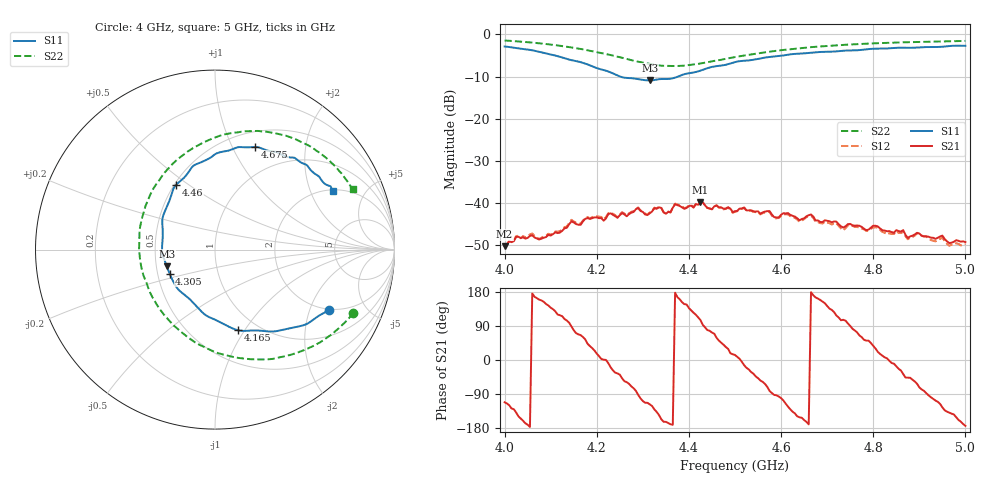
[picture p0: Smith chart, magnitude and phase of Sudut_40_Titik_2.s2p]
# Hz S RI R 50
! CMT, C1220, 16058040, 17.2.0/1
! Date: 15/08/2018 11:40:03
! Data: Format (Calibration Info)
! Freq  S11: Re/Im (F2)  S21: Re/Im (F2)  S12: Re/Im (F2)  S22: Re/Im (F2)
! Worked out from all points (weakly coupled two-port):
!   201 points, 4 GHz to 5 GHz, reference 50 ohm
!   highest |S21| = -39.82 dB at 4.425 GHz (marker M1); lowest = -50.3 dB at 4 GHz (marker M2)
!   lowest |S11| = -10.9 dB at 4.315 GHz (marker M3), VSWR 1.79, Z = 28.4 - j5.82 ohm
!   |S11| at or under -10 dB: 4.25 GHz to 4.377 GHz (126.1 MHz wide, 2.92 % of centre)
!   |S22| runs from -7.5 to -1.4 dB; largest |S21 - S12| = 0.00039
!   S11 on the Smith chart (normalised r, x): 4 GHz: 1.98, -2.74; 4.165 GHz: 0.81, -0.94; 4.305 GHz: 0.58, -0.17; 4.46 GHz: 0.51, +0.45; 4.675 GHz: 0.67, +1.23; 5 GHz: 2.05, +2.90
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4e9  0.6367 -0.335  -0.00112 -0.00284  -0.00106 -0.00299  0.7704 -0.3538
4.025e9  0.5828 -0.366  -0.00294 -0.0026  -0.00287 -0.0028  0.7222 -0.4074
4.1e9  0.3606 -0.451  -0.00304 0.00272  -0.00315 0.00274  0.5229 -0.5484
4.145e9  0.2041 -0.4505  0.000156 0.006  4.66e-05 0.00628  0.3599 -0.6002
4.165e9  0.1297 -0.45  0.00225 0.00499  0.00229 0.00516  0.28 -0.6117
4.17e9  0.1136 -0.445  0.00294 0.00524  0.00295 0.0054  0.2593 -0.612
4.265e9  -0.1719 -0.2508  0.00362 -0.00589  0.00367 -0.0061  -0.1514 -0.488
4.29e9  -0.2299 -0.1833  -0.000339 -0.00863  -0.000344 -0.00878  -0.2466 -0.4047
4.305e9  -0.2528 -0.1332  -0.00282 -0.00669  -0.0029 -0.00684  -0.2944 -0.3496
4.315e9  -0.2679 -0.094  -0.00341 -0.0067  -0.0035 -0.00681  -0.3239 -0.3073
4.335e9  -0.2925 -0.0282  -0.00728 -0.00505  -0.00743 -0.00494  -0.3712 -0.2154
4.35e9  -0.2947 0.0207  -0.00708 -0.00215  -0.00713 -0.00218  -0.3987 -0.1438
4.37e9  -0.2911 0.0967  -0.00956 0.000407  -0.00975 0.000467  -0.4186 -0.0449
4.39e9  -0.2932 0.1654  -0.00713 0.00457  -0.0072 0.00482  -0.4221 0.0552
4.425e9  -0.2552 0.2694  -0.00272 0.00983  -0.00246 0.00988  -0.3939 0.2209
4.46e9  -0.2181 0.359  0.00487 0.00797  0.00498 0.00785  -0.3272 0.3645
4.5e9  -0.1358 0.4485  0.00773 0.00183  0.00763 0.00174  -0.2233 0.4896
4.585e9  0.0387 0.5447  -0.000256 -0.00674  -0.000294 -0.00654  0.0281 0.6349
4.67e9  0.2163 0.5713  -0.00677 0.00112  -0.00648 0.00124  0.2615 0.6583
4.675e9  0.2244 0.5719  -0.00595 0.0016  -0.0057 0.00157  0.2737 0.658
4.835e9  0.4842 0.4826  0.00461 -0.000173  0.00434 -7.24e-05  0.5886 0.535
5e9  0.6552 0.3271  -0.0034 -0.000366  -0.0032 -0.000488  0.7671 0.335
